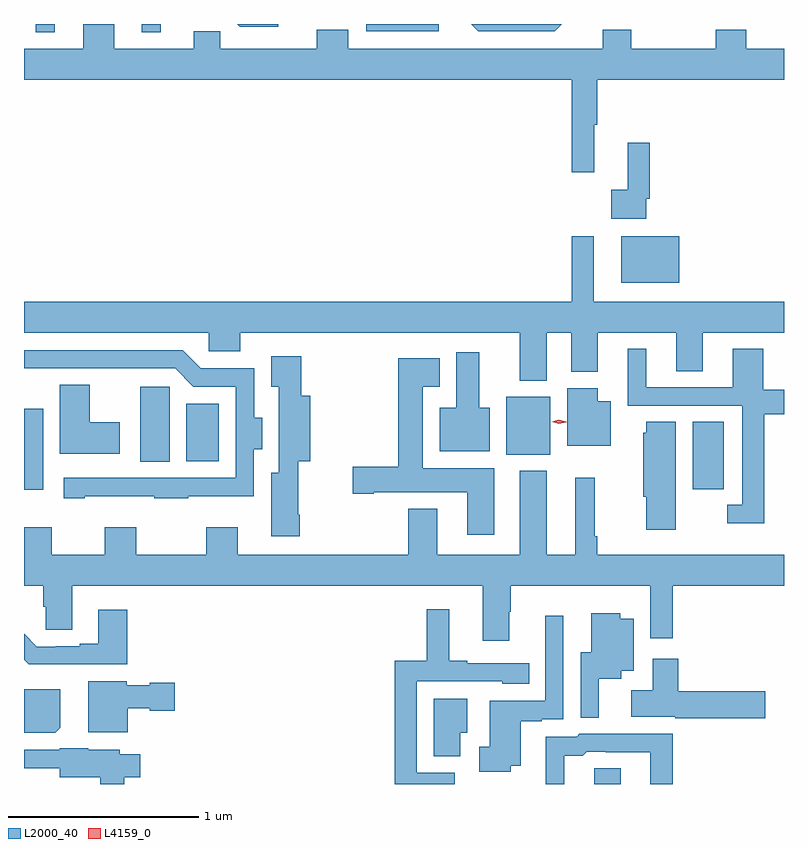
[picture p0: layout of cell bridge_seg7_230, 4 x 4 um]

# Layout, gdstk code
import gdstk
lib = gdstk.Library(unit=1e-6, precision=1e-09)
def R(c, l, rs):  # rectangles x0, y0, x1, y1
    for r in rs: c.add(gdstk.rectangle(r[:2], r[2:], *l))
def P(c, l, *ps):  # polygons
    for p in ps: c.add(gdstk.Polygon(p, *l))
L2000_40 = (2000, 40)
L4159_0 = (4159, 0)

bridge_seg7_230 = lib.new_cell('bridge_seg7_230')
R(bridge_seg7_230, L2000_40, [(276.941,1059.513,277.081,1059.596), (273.941,1061.061,274.042,1061.488), (277.46,1061.064,277.624,1061.42), (274.553,1061.209,274.708,1061.605), (274.796,1061.213,274.966,1061.515), (276.479,1061.246,276.712,1061.551), (277.085,1062.152,277.39,1062.397), (274.004,1063.469,274.102,1063.513), (274.562,1063.469,274.66,1063.513), (275.742,1063.476,276.124,1063.513)])
P(bridge_seg7_230, L2000_40, [(276.941,1062.984),(276.959,1062.984),(276.959,1063.22),(277.941,1063.22),(277.941,1063.384),(277.742,1063.384),(277.742,1063.482),(277.582,1063.482),(277.582,1063.384),(277.137,1063.384),(277.137,1063.482),(276.986,1063.482),(276.986,1063.384),(275.647,1063.384),(275.647,1063.483),(275.483,1063.483),(275.483,1063.384),(274.973,1063.384),(274.973,1063.475),(274.835,1063.475),(274.835,1063.384),(274.417,1063.384),(274.417,1063.513),(274.253,1063.513),(274.253,1063.384),(273.941,1063.384),(273.941,1063.22),(276.823,1063.22),(276.823,1062.732),(276.941,1062.732)],
  [(276.772,1063.513),(276.295,1063.513),(276.332,1063.476),(276.735,1063.476)],
  [(275.278,1063.513),(275.063,1063.513),(275.077,1063.499),(275.278,1063.499)],
  [(277.215,1062.592),(277.235,1062.592),(277.235,1062.889),(277.118,1062.889),(277.118,1062.641),(277.032,1062.641),(277.032,1062.488),(277.215,1062.488)],
  [(276.691,1061.888),(276.821,1061.888),(276.821,1061.682),(276.961,1061.682),(276.961,1061.888),(277.373,1061.888),(277.373,1061.686),(277.513,1061.686),(277.513,1061.888),(277.941,1061.888),(277.941,1062.052),(276.94,1062.052),(276.94,1062.397),(276.823,1062.397),(276.823,1062.052),(273.941,1062.052),(273.941,1061.888),(274.914,1061.888),(274.914,1061.79),(275.078,1061.79),(275.078,1061.888),(276.551,1061.888),(276.551,1061.636),(276.691,1061.636)],
  [(277.838,1061.458),(277.941,1061.458),(277.941,1061.587),(277.832,1061.587),(277.832,1061.803),(277.67,1061.803),(277.67,1061.601),(277.216,1061.601),(277.216,1061.803),(277.118,1061.803),(277.118,1061.505),(277.722,1061.505),(277.722,1060.983),(277.641,1060.983),(277.641,1060.886),(277.838,1060.886)],
  [(274.261,1061.027),(274.627,1061.027),(274.627,1061.016),(274.805,1061.016),(274.805,1061.027),(275.151,1061.027),(275.151,1061.276),(275.194,1061.276),(275.194,1061.44),(275.152,1061.44),(275.152,1061.7),(274.872,1061.7),(274.776,1061.796),(273.941,1061.796),(273.941,1061.7),(274.737,1061.7),(274.833,1061.604),(275.055,1061.604),(275.055,1061.124),(274.149,1061.124),(274.149,1061.016),(274.261,1061.016)],
  [(276.391,1061.494),(276.337,1061.494),(276.337,1061.785),(276.215,1061.785),(276.215,1061.494),(276.128,1061.494),(276.128,1061.264),(276.391,1061.264)],
  [(275.393,1060.93),(275.384,1060.93),(275.384,1061.213),(275.448,1061.213),(275.448,1061.557),(275.399,1061.557),(275.399,1061.764),(275.243,1061.764),(275.243,1061.603),(275.283,1061.603),(275.283,1061.152),(275.243,1061.152),(275.243,1060.818),(275.393,1060.818)],
  [(276.415,1061.176),(276.04,1061.176),(276.04,1061.603),(276.13,1061.603),(276.13,1061.755),(275.911,1061.755),(275.911,1061.183),(275.67,1061.183),(275.67,1061.041),(275.782,1061.041),(275.782,1061.048),(276.275,1061.048),(276.275,1060.824),(276.415,1060.824)],
  [(274.444,1061.416),(274.288,1061.416),(274.288,1061.615),(274.13,1061.615),(274.13,1061.252),(274.444,1061.252)],
  [(277.03,1061.527),(276.961,1061.527),(276.961,1061.596),(276.8,1061.596),(276.8,1061.294),(277.03,1061.294)],
  [(277.372,1061.42),(277.217,1061.42),(277.217,1061.361),(277.199,1061.361),(277.199,1061.025),(277.217,1061.025),(277.217,1060.851),(277.372,1060.851)],
  [(276.959,1060.816),(276.944,1060.816),(276.944,1061.125),(276.842,1061.125),(276.842,1060.72),(276.691,1060.72),(276.691,1061.161),(276.551,1061.161),(276.551,1060.72),(276.115,1060.72),(276.115,1060.963),(275.963,1060.963),(275.963,1060.72),(275.065,1060.72),(275.065,1060.864),(274.901,1060.864),(274.901,1060.72),(274.531,1060.72),(274.531,1060.864),(274.367,1060.864),(274.367,1060.72),(274.087,1060.72),(274.087,1060.864),(273.941,1060.864),(273.941,1060.556),(274.043,1060.556),(274.043,1060.446),(274.056,1060.446),(274.056,1060.324),(274.195,1060.324),(274.195,1060.556),(276.356,1060.556),(276.356,1060.266),(276.496,1060.266),(276.496,1060.419),(276.504,1060.419),(276.504,1060.556),(277.238,1060.556),(277.238,1060.281),(277.355,1060.281),(277.355,1060.556),(277.941,1060.556),(277.941,1060.72),(276.959,1060.72)],
  [(276.208,1059.573),(276.009,1059.573),(276.009,1060.053),(276.459,1060.053),(276.459,1060.04),(276.599,1060.04),(276.599,1060.149),(276.274,1060.149),(276.274,1060.162),(276.178,1060.162),(276.178,1060.432),(276.061,1060.432),(276.061,1060.162),(275.893,1060.162),(275.893,1059.513),(276.208,1059.513)],
  [(274.484,1060.429),(274.331,1060.429),(274.331,1060.252),(274.235,1060.252),(274.235,1060.239),(274.108,1060.239),(274.108,1060.236),(274.008,1060.236),(273.941,1060.304),(273.941,1060.166),(273.965,1060.142),(274.484,1060.142)],
  [(276.967,1060.067),(277.084,1060.067),(277.084,1060.109),(277.15,1060.109),(277.15,1060.384),(277.08,1060.384),(277.08,1060.411),(276.926,1060.411),(276.926,1060.207),(276.87,1060.207),(276.87,1059.862),(276.967,1059.862)],
  [(276.502,1059.608),(276.556,1059.608),(276.556,1059.843),(276.665,1059.843),(276.665,1059.855),(276.78,1059.855),(276.78,1060.399),(276.684,1060.399),(276.684,1059.951),(276.392,1059.951),(276.392,1059.708),(276.336,1059.708),(276.336,1059.578),(276.502,1059.578)],
  [(277.843,1060.001),(277.385,1060.001),(277.385,1060.171),(277.25,1060.171),(277.25,1060.006),(277.137,1060.006),(277.137,1059.866),(277.368,1059.866),(277.368,1059.859),(277.843,1059.859)],
  [(274.486,1059.911),(274.602,1059.911),(274.602,1059.899),(274.735,1059.899),(274.735,1060.046),(274.602,1060.046),(274.602,1060.033),(274.482,1060.033),(274.482,1060.054),(274.28,1060.054),(274.28,1059.785),(274.486,1059.785)],
  [(274.132,1059.808),(274.132,1060.012),(273.941,1060.012),(273.941,1059.782),(274.106,1059.782)],
  [(276.238,1059.782),(276.274,1059.782),(276.274,1059.961),(276.098,1059.961),(276.098,1059.658),(276.238,1059.658)],
  [(276.784,1059.662),(276.881,1059.662),(276.903,1059.684),(277.003,1059.684),(277.003,1059.681),(277.238,1059.681),(277.238,1059.513),(277.355,1059.513),(277.355,1059.777),(276.864,1059.777),(276.849,1059.762),(276.686,1059.762),(276.686,1059.513),(276.784,1059.513)],
  [(274.469,1059.548),(274.552,1059.548),(274.552,1059.67),(274.446,1059.67),(274.446,1059.694),(274.278,1059.694),(274.278,1059.7),(274.128,1059.7),(274.128,1059.693),(273.941,1059.693),(273.941,1059.597),(274.128,1059.597),(274.128,1059.548),(274.341,1059.548),(274.341,1059.513),(274.469,1059.513)])
P(bridge_seg7_230, L4159_0, [(276.756,1061.409),(276.718,1061.419),(276.718,1061.42),(276.718,1061.42),(276.756,1061.429),(276.794,1061.419),(276.794,1061.418),(276.794,1061.418)])

lib.write_gds('bridge_seg7_230.gds')
